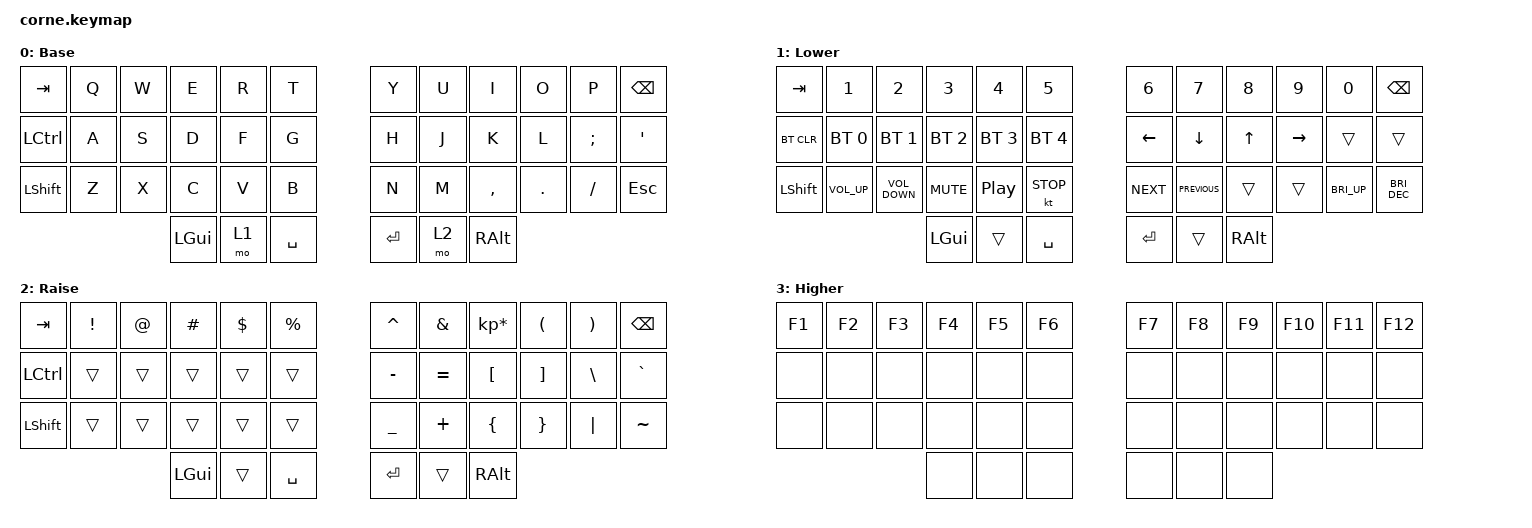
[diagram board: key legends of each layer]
/*
 * Copyright (c) 2020 The ZMK Contributors
 *
 * SPDX-License-Identifier: MIT
 */

#include <behaviors.dtsi>
#include <dt-bindings/zmk/bt.h>
#include <dt-bindings/zmk/keys.h>
#include <dt-bindings/zmk/keys.h>

/ {
    keymap {
        compatible = "zmk,keymap";

        default_layer {
            // -----------------------------------------------------------------------------------------
            // |  TAB |  Q  |  W  |  E  |  R  |  T  |   |  Y  |  U   |  I  |  O  |  P  | BKSP |
            // | CTRL |  A  |  S  |  D  |  F  |  G  |   |  H  |  J   |  K  |  L  |  ;  |  '   |
            // | SHFT |  Z  |  X  |  C  |  V  |  B  |   |  N  |  M   |  ,  |  .  |  /  | ESC  |
            //                    | GUI | LWR | SPC |   | ENT | RSE  | ALT |

            label = "Base";
            bindings = <
&kp TAB    &kp Q  &kp W  &kp E     &kp R  &kp T        &kp Y    &kp U  &kp I      &kp O    &kp P     &kp BSPC
&kp LCTRL  &kp A  &kp S  &kp D     &kp F  &kp G        &kp H    &kp J  &kp K      &kp L    &kp SEMI  &kp SQT
&kp LSHFT  &kp Z  &kp X  &kp C     &kp V  &kp B        &kp N    &kp M  &kp COMMA  &kp DOT  &kp FSLH  &kp ESC
                         &kp LGUI  &mo 1  &kp SPACE    &kp RET  &mo 2  &kp RALT
            >;
        };

        lower_layer {
            // -----------------------------------------------------------------------------------------
            // |  TAB |  1  |  2  |  3  |  4  |  5  |   |  6  |  7  |  8  |  9  |  0  | BKSP |
            // | BTCLR| BT1 | BT2 | BT3 | BT4 | BT5 |   | LFT | DWN |  UP | RGT |     |      |
            // | SHFT |     |     |     |     |     |   |     |     |     |     |     |      |
            //                    | GUI |     | SPC |   | ENT |     | ALT |

            label = "Lower";
            bindings = <
&kp TAB     &kp N1           &kp N2             &kp N3        &kp N4            &kp N5          &kp N6      &kp N7          &kp N8    &kp N9     &kp N0        &kp BSPC
&bt BT_CLR  &bt BT_SEL 0     &bt BT_SEL 1       &bt BT_SEL 2  &bt BT_SEL 3      &bt BT_SEL 4    &kp LEFT    &kp DOWN        &kp UP    &kp RIGHT  &trans        &trans
&kp LSHFT   &kp C_VOLUME_UP  &kp C_VOLUME_DOWN  &kp C_MUTE    &kp C_PLAY_PAUSE  &kt C_STOP      &kp C_NEXT  &kp C_PREVIOUS  &trans    &trans     &kp C_BRI_UP  &kp C_BRI_DEC
                                                &kp LGUI      &trans            &kp SPACE       &kp RET     &trans          &kp RALT
            >;
        };

        raise_layer {
            // -----------------------------------------------------------------------------------------
            // |  TAB |  !  |  @  |  #  |  $  |  %  |   |  ^  |  &  |  *  |  (  |  )  | BKSP |
            // | CTRL |     |     |     |     |     |   |  -  |  =  |  [  |  ]  |  \  |  `   |
            // | SHFT |     |     |     |     |     |   |  _  |  +  |  {  |  }  | "|" |  ~   |
            //                    | GUI |     | SPC |   | ENT |     | ALT |

            label = "Raise";
            bindings = <
&kp TAB    &kp EXCL  &kp AT  &kp HASH  &kp DLLR  &kp PRCNT    &kp CARET  &kp AMPS   &kp KP_MULTIPLY  &kp LPAR  &kp RPAR  &kp BSPC
&kp LCTRL  &trans    &trans  &trans    &trans    &trans       &kp MINUS  &kp EQUAL  &kp LBKT         &kp RBKT  &kp BSLH  &kp GRAVE
&kp LSHFT  &trans    &trans  &trans    &trans    &trans       &kp UNDER  &kp PLUS   &kp LBRC         &kp RBRC  &kp PIPE  &kp TILDE
                             &kp LGUI  &trans    &kp SPACE    &kp RET    &trans     &kp RALT
            >;
        };

        higher_layer {
            bindings = <
&kp F1  &kp F2  &kp F3  &kp F4  &kp F5  &kp F6    &kp F7  &kp F8  &kp F9  &kp F10  &kp F11  &kp F12
&none   &none   &none   &none   &none   &none     &none   &none   &none   &none    &none    &none
&none   &none   &none   &none   &none   &none     &none   &none   &none   &none    &none    &none
                        &none   &none   &none     &none   &none   &none
            >;

            label = "Higher";
        };
    };

    conditional_layers {
        compatible = "zmk,conditional-layers";

        higher {
            if-layers = <1 2>;
            then-layer = <3>;
        };
    };
};
